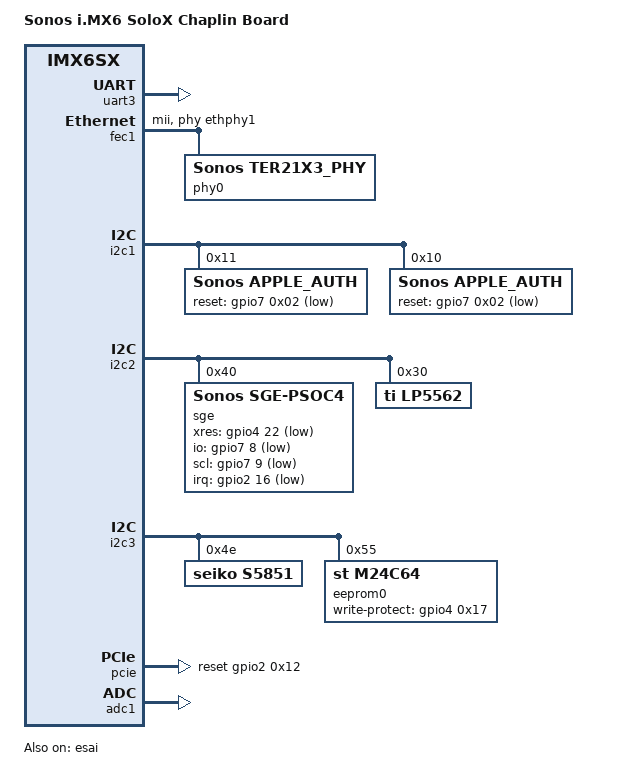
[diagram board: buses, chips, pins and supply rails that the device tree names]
/*
 * Copyright (c) 2019-2021, Sonos, Inc.
 *
 * SPDX-License-Identifier:     GPL-2.0
 */
#include "sonos_imx6sx_common.dtsi"

/ {
	model = "Sonos i.MX6 SoloX Chaplin Board";

	sonos-platform {
		/* Sonos platform specific values for shared driver source & binaries */
		sonos-ampctl {
			/* Chaplin(/Beacon) has one amp fault.  It has three control lines.
			 */
			status = "okay";
			amprail-adc-port = <1>;
			amprail-adc-scale = <7007>;

			sonos-ampfaults {
				num-faults = <0x01>;
				status = "okay";

				ampfault@0 {
					fault-gpio = <&gpio7 4 0>;
				} ;
			} ;

			sonos-ampctl-signals {
				num-ctl-signals = <3>;
				sonos-ampsignal@0 {		// DACRESET
					config = <1>;
					on-time = <4>;
					off-time = <4>;
					supports-off = <1>;
					active-low = <1>;
					sig-gpio = <&gpio1 5 0>;
				} ;
				sonos-ampsignal@1 {		// POWER
					on-time = <15>;
					off-time = <0>;
					supports-off = <0>;
					sig-gpio = <&gpio1 6 0>;
				} ;
				sonos-ampsignal@2 {		// AMP MUTE
					config = <1>;
					on-time = <4>;
					off-time = <1>;
					supports-off = <1>;
					sig-gpio = <&gpio1 7 0>;
				} ;
			} ;
		} ;
		misc-gpio {
			connect-button  = <&gpio1 9 0>;
		};

		simulated-buttons {
			/* event-sources are offsets from EVTSOURCE_BUTTON_PLAYPAUSE, some generate an event for more than one source */
			join {
				event-sources = <3>;
			};
		};

		thermal-mgmt {
			CPU {
				compatible = "seiko,s5851";
				fault-temperature = <95>;
				warn-temperature = <91>;
			};
		};
	};

	psmon {
		compatible = "sonos,psmon";
		shutdown-voltage = <10000>;
		adc-port = <1>;
		adc-scale = <7007>;
	};
	sonos_dummy_codec_dac: dac_dummy_codec {
		#sound-dai-cells = <0>;
		compatible = "Sonos,dummy-codec";
		stream-name = "sonos.dac";
		rate = <44100>; /* We use 44.1 KHz as the audio output rate */
		format = "S32_LE"; /* We use signed 24-bit little endian samples in a 32-bit word */
		channels = <2>;
		status = "okay";
	};

	sound {
		compatible = "simple-audio-card";
		simple-audio-card,name = "DAC";
		simple-audio-card,format = "i2s";
		simple-audio-card,bitclock-master = <&esai_out>;
		simple-audio-card,frame-master = <&esai_out>;
		simple-audio-card,mclk-fs = <256>;

		esai_out: simple-audio-card,cpu {
			sound-dai = <&esai>;
			clocks = <&clks IMX6SX_CLK_ESAI_EXTAL>;
			clock-id = <1>; /* ESAI_HCKT_EXTAL */
		};

		simple-audio-card,codec {
			sound-dai = <&sonos_dummy_codec_dac>;
		};
	};

};

&esai {
	status = "okay";
};

&uart3 {
	fsl,uart-has-rtscts;
	status = "okay";
};

&fec1 {
	status = "okay";
	phy-mode = "mii";
	phy-handle = <&ethphy1>;
	phy0 {
		compatible = "Sonos,ter21x3_phy";
		interrupts = <&gpio2 9 1>;
	};
};

&fec2 {
	status = "disabled";
};

&i2c1 {
	apple_auth@0 {
		compatible = "Sonos,apple_auth";
		reg = <0x11>;
		reset-gpio = <&gpio7 0x02 0x01>;
	};

	apple_auth@1 {
		compatible = "Sonos,apple_auth";
		reg = <0x10>;
		reset-gpio = <&gpio7 0x02 0x01>;
	};
};

&i2c2 {
	sge@0 {  // Sigdetail Gesture Engine
		compatible = "Sonos,sge-psoc4";
		pinctrl-names = "mode-flow-ctrl", "mode-uart-hiz";
		pinctrl-0 = <>;
		pinctrl-1 = <>;
		reg = <0x40>;
		iomuxc-ofs = <0x20e0000 0x1000 0x270 0x274 0x5b8 0x5bc 0x83c>;
		iomuxc-params = "base-addr", "len", "mux-s3d6", "mux-s3d7", "ctl-s3d6", "ctl-s3d7", "uart3-rts-sel";
		xres-gpio = <&gpio4 22 1>;
		io-gpio   = <&gpio7  8 1>;
		scl-gpio  = <&gpio7  9 1>;
		irq-gpio  = <&gpio2 16 1>;
		zonea = "vol1";
		zoneb = "pp";
		zonec = "vol2";
		finger-threshold = <63>;
		noise-threshold = <24>;
		hysteresis = <6>;
		share-swd-uart = <1>;
		eco-trim-cap = <0x5f4d>;
		swd-preempt-disable;

		psoc-images {
			image@0 {
				model-num = <4247>;
				ident = <0x33>;
				flash-rows = <1024>;
				flash-row-size = <128>;
				flash-protection-size = <128>;
			};
		};
	};

	lp5562@0 {      // LED controller
		compatible = "ti,lp5562";
		reg = <0x30>;
	};
};

&i2c3 {
	s5851@0 {	// CPU thermal sensor
		compatible = "seiko,s5851";
		reg = <0x4e>;
		device_type = "CPU";
	};

	eeprom0: m24c64@55 {
		compatible = "st,m24c64";
		reg = <0x55>;
		dev-id = <0x2>;
		chip-size = <0x10000>;
		page-size = <0x20>;
		addr-len = <0x2>;
		status = "okay";
		write-protect = <&gpio4 0x17 0>;
	};
};

&pcie{
	clock-names = "pcie_phy", "pcie_bus", "pcie", "pcie_inbound_axi";
	reset-gpio = <&gpio2 0x12 0x0>;
	fsl,tx-deemph-gen1 = <21>;
	fsl,tx-deemph-gen2-3p5db = <21>;
	fsl,tx-deemph-gen2-6db = <32>;
	fsl,tx-swing-full = <115>;
	fsl,tx-swing-low = <115>;
	status = "okay";
};

&adc1 {
	status = "okay";
};

&pcie{
	status = "okay";
};
